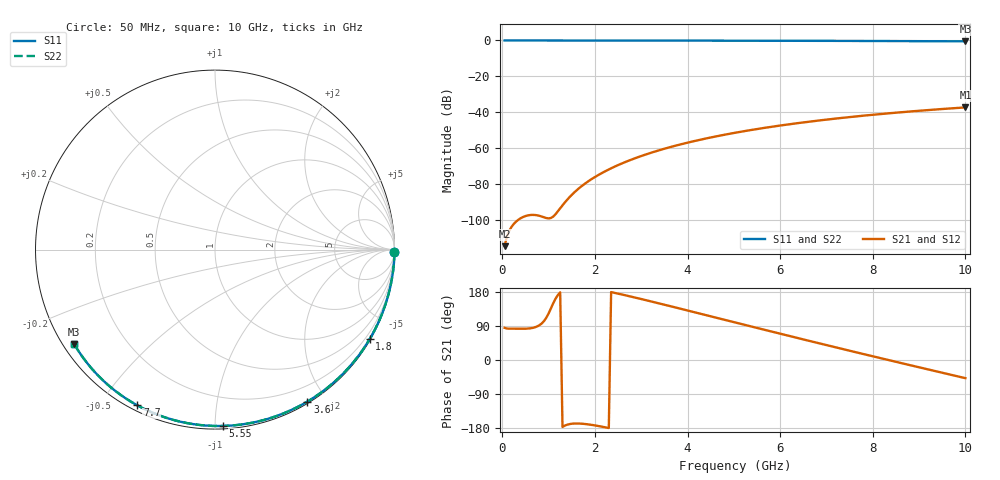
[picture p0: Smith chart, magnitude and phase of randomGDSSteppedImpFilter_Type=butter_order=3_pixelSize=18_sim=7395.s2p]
! freq	dB(S11)	phase(S11)	dB(S12)	phase(S12)
!  dB(S21)	phase(S21)	dB(S22)	phase(S22)
!S-par simulation data
#  GHz  S  DB  R 50
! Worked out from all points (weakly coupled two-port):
!   200 points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, 50 MHz to 10 GHz, reference 50 ohm
!   highest |S21| = -37.32 dB at 10 GHz (marker M1); lowest = -114.7 dB at 50 MHz (marker M2)
!   lowest |S11| = -0.5 dB at 10 GHz (marker M3), VSWR 35.18, Z = 1.55 - j15.2 ohm
!   |S11| at or under -10 dB: nowhere
!   |S22| runs from -0.5 to 0.0 dB; largest |S21 - S12| = 0
!   S11 on the Smith chart (normalised r, x): 50 MHz: open; 1.8 GHz: 0.03, -3.72; 3.6 GHz: 0.02, -1.78; 5.55 GHz: 0.02, -1.05; 7.7 GHz: 0.02, -0.62; 10 GHz: 0.03, -0.30
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0.05  -0.00 -0.9  -114.68 84.9  -114.68 84.9  -0.00 -0.9
0.45  -0.01 -7.6  -98.40 82.3  -98.40 82.3  -0.01 -7.6
0.9  -0.02 -15.2  -98.59 102.7  -98.59 102.7  -0.02 -15.2
1.3  -0.03 -21.9  -91.90 -176.6  -91.90 -176.6  -0.03 -21.9
1.75  -0.04 -29.3  -80.49 -168.4  -80.49 -168.4  -0.04 -29.3
1.8  -0.04 -30.1  -79.53 -169.1  -79.53 -169.1  -0.04 -30.1
1.95  -0.04 -32.6  -76.93 -171.6  -76.93 -171.6  -0.04 -32.6
2.1  -0.04 -35.0  -74.63 -174.7  -74.63 -174.7  -0.04 -35.0
2.3  -0.05 -38.2  -71.90 -179.6  -71.90 -179.6  -0.05 -38.2
2.5  -0.05 -41.4  -69.48 175.2  -69.48 175.2  -0.05 -41.4
2.9  -0.06 -47.8  -65.35 163.8  -65.35 163.8  -0.06 -47.8
3.4  -0.07 -55.6  -61.11 149.0  -61.11 149.0  -0.07 -55.6
3.6  -0.08 -58.7  -59.64 142.9  -59.64 142.9  -0.08 -58.7
4.3  -0.10 -69.3  -55.19 121.5  -55.19 121.5  -0.10 -69.3
5.05  -0.12 -80.3  -51.35 98.4  -51.35 98.4  -0.12 -80.3
5.55  -0.14 -87.4  -49.18 83.1  -49.18 83.1  -0.14 -87.4
6.1  -0.17 -95.1  -47.07 66.4  -47.07 66.4  -0.17 -95.1
6.7  -0.20 -103.2  -45.05 48.3  -45.05 48.3  -0.20 -103.2
7.7  -0.27 -116.5  -42.19 18.6  -42.19 18.6  -0.27 -116.5
8.35  -0.32 -125.0  -40.60 -0.4  -40.60 -0.4  -0.32 -125.0
9.2  -0.40 -135.9  -38.79 -25.0  -38.79 -25.0  -0.40 -135.9
10  -0.49 -146.2  -37.32 -48.0  -37.32 -48.0  -0.49 -146.2
